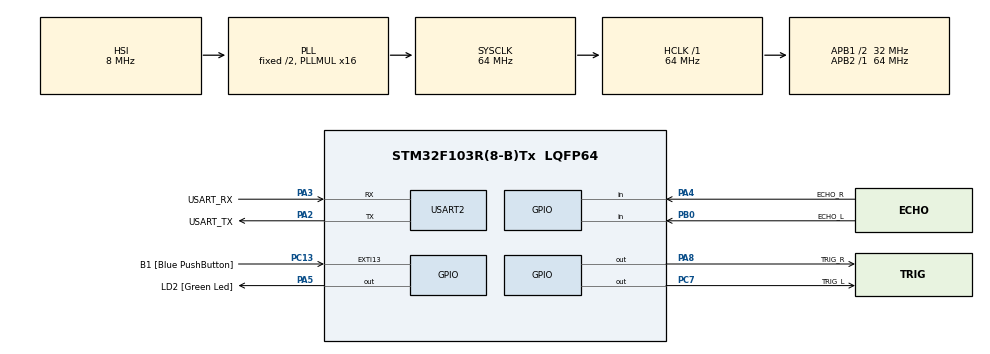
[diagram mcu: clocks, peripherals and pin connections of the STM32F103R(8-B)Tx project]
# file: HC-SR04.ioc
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Mcu.Family=STM32F1
Mcu.Name=STM32F103R(8-B)Tx
Mcu.Package=LQFP64
NVIC.EXTI15_10_IRQn=true\:0\:0\:false\:false\:true\:true\:true\:true
NVIC.PriorityGroup=NVIC_PRIORITYGROUP_4
PA13.GPIO_Label=TMS
PA13.Mode=Serial_Wire
PA13.Signal=SYS_JTMS-SWDIO
PA14.GPIO_Label=TCK
PA14.Mode=Serial_Wire
PA14.Signal=SYS_JTCK-SWCLK
PA2.GPIO_Label=USART_TX
PA2.GPIO_Mode=GPIO_MODE_AF_PP
PA2.GPIO_PuPd=GPIO_NOPULL
PA2.GPIO_Speed=GPIO_SPEED_FREQ_LOW
PA2.Mode=Asynchronous
PA2.Signal=USART2_TX
PA3.GPIO_Label=USART_RX
PA3.GPIO_Mode=GPIO_MODE_AF_PP
PA3.GPIO_PuPd=GPIO_NOPULL
PA3.GPIO_Speed=GPIO_SPEED_FREQ_LOW
PA3.Mode=Asynchronous
PA3.Signal=USART2_RX
PA4.GPIO_Label=ECHO_R
PA4.Signal=GPIO_Input
PA5.GPIO_Label=LD2 [Green Led]
PA5.GPIO_ModeDefaultOutputPP=GPIO_MODE_OUTPUT_PP
PA5.GPIO_PuPd=GPIO_NOPULL
PA5.GPIO_Speed=GPIO_SPEED_FREQ_LOW
PA5.Signal=GPIO_Output
PA8.GPIO_Label=TRIG_R
PA8.Signal=GPIO_Output
PB0.GPIO_Label=ECHO_L
PB0.Signal=GPIO_Input
PB3.GPIO_Label=SWO
PB3.Signal=SYS_JTDO-TRACESWO
PC13-TAMPER-RTC.GPIO_Label=B1 [Blue PushButton]
PC13-TAMPER-RTC.GPIO_PuPd=GPIO_NOPULL
PC13-TAMPER-RTC.Signal=GPXTI13
PC14-OSC32_IN.Signal=RCC_OSC32_IN
PC15-OSC32_OUT.Signal=RCC_OSC32_OUT
PC7.GPIO_Label=TRIG_L
PC7.Signal=GPIO_Output
PD0-OSC_IN.Signal=RCC_OSC_IN
PD1-OSC_OUT.Signal=RCC_OSC_OUT
ProjectManager.HeapSize=0x200
ProjectManager.StackSize=0x400
ProjectManager.TargetToolchain=STM32CubeIDE
RCC.AHBFreq_Value=64000000
RCC.APB1CLKDivider=RCC_HCLK_DIV2
RCC.APB1Freq_Value=32000000
RCC.APB1TimFreq_Value=64000000
RCC.APB2Freq_Value=64000000
RCC.APB2TimFreq_Value=64000000
RCC.HCLKFreq_Value=64000000
RCC.PLLMUL=RCC_PLL_MUL16
RCC.RTCClockSelection=RCC_RTCCLKSOURCE_LSE
RCC.SYSCLKFreq_VALUE=64000000
RCC.SYSCLKSource=RCC_SYSCLKSOURCE_PLLCLK
RCC.USBFreq_Value=64000000
TIM1.Prescaler=64-1
USART2.VirtualMode=VM_ASYNC
VP_TIM1_VS_ClockSourceINT.Mode=Internal
board=NUCLEO-F103RB

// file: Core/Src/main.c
/* USER CODE BEGIN Header */
/**
  ******************************************************************************
  * @file           : main.c
  * @brief          : Main program body
  ******************************************************************************
  * @attention
  *
  * Copyright (c) 2025 STMicroelectronics.
  * All rights reserved.
  *
  * This software is licensed under terms that can be found in the LICENSE file
  * in the root directory of this software component.
  * If no LICENSE file comes with this software, it is provided AS-IS.
  *
  ******************************************************************************
  */
/* USER CODE END Header */
#include "main.h"

/* USER CODE BEGIN Includes */
#include <stdio.h>
#include <stdint.h>
/* USER CODE END Includes */

TIM_HandleTypeDef htim1;

UART_HandleTypeDef huart2;

void SystemClock_Config(void);
static void MX_GPIO_Init(void);
static void MX_USART2_UART_Init(void);
static void MX_TIM1_Init(void);

/* USER CODE BEGIN 0 */
#ifdef __GNUC__

#define PUTCHAR_PROTOTYPE int __io_putchar(int ch)
#else
#define PUTCHAR_PROTOTYPE int fputc(int ch, FILE *f)
#endif /* __GNUC__ */

PUTCHAR_PROTOTYPE
{
	if (ch =='\n')
		HAL_UART_Transmit (&huart2, (uint8_t*) "\r", 1, 0xFFFF);
	HAL_UART_Transmit (&huart2, (uint8_t*) &ch, 1, 0xFFFF);

	return ch;
}

void timer_start(void)
{
   HAL_TIM_Base_Start(&htim1);
}

void delay_us(uint16_t us)
{
   __HAL_TIM_SET_COUNTER(&htim1, 0); // initislize counter to start from 0
   while((__HAL_TIM_GET_COUNTER(&htim1))<us); // wait count until us
}

void trig_l(void)
{
   HAL_GPIO_WritePin(TRIG_L_GPIO_Port, TRIG_L_Pin, 1);
   delay_us(10);
   HAL_GPIO_WritePin(TRIG_L_GPIO_Port, TRIG_L_Pin, 0);
}
void trig_r(void)
{
	HAL_GPIO_WritePin(TRIG_R_GPIO_Port, TRIG_R_Pin, 1);
	delay_us(10);
	HAL_GPIO_WritePin(TRIG_R_GPIO_Port, TRIG_R_Pin, 0);
}

long unsigned int echo_l(void)
{
    long unsigned int echo = 0;

    while(HAL_GPIO_ReadPin(ECHO_L_GPIO_Port, ECHO_L_Pin) == 0){}
         __HAL_TIM_SET_COUNTER(&htim1, 0);
         while(HAL_GPIO_ReadPin(ECHO_L_GPIO_Port, ECHO_L_Pin) == 1);
         echo = __HAL_TIM_GET_COUNTER(&htim1);
    if( echo >= 240 && echo <= 23000 ) return echo;
    else return 0;
}
long unsigned int echo_r(void)
{
	long unsigned int echo = 0;

	while(HAL_GPIO_ReadPin(ECHO_R_GPIO_Port, ECHO_R_Pin) == 0){}
	     __HAL_TIM_SET_COUNTER(&htim1, 0);
	     while(HAL_GPIO_ReadPin(ECHO_R_GPIO_Port, ECHO_R_Pin) == 1);
	     echo = __HAL_TIM_GET_COUNTER(&htim1);
	if( echo >= 240 && echo <= 23000 ) return echo;
	else return 0;
}

/* USER CODE END 0 */

int main(void)
{

  /* USER CODE BEGIN 1 */
//	printf("HC-SR04 TEST\n");
  /* USER CODE END 1 */

  /* MCU Configuration--------------------------------------------------------*/

  /* Reset of all peripherals, Initializes the Flash interface and the Systick. */
  HAL_Init();

  /* Configure the system clock */
  SystemClock_Config();

  /* Initialize all configured peripherals */
  MX_GPIO_Init();
  MX_USART2_UART_Init();
  MX_TIM1_Init();
  /* USER CODE BEGIN 2 */
//  uint8_t ch;
  uint16_t echo_l_time;
  uint16_t dist_l;

  uint16_t echo_r_time;
  uint16_t dist_r;

  timer_start();
  printf("Ranging with HC-SR04\n");

  /* USER CODE END 2 */

  /* Infinite loop */
  /* USER CODE BEGIN WHILE */
  while (1)
  {
// HC-SR04 Serial TEST
//	  HAL_UART_Receive(&huart2, &ch, 1, HAL_MAX_DELAY);
//	  printf("%c\n",ch);
//	  HAL_Delay(100);
	    trig_l();
	    echo_l_time = echo_l();
	    HAL_Delay(1000);
	    if( echo_l_time != 0)
	    {
	        dist_l = (int)(17 * echo_l_time / 100);
	        printf("Distance_l = %d(mm)\n", dist_l);
	        HAL_Delay(1);
	    }
	    else
	    {
	    	printf("Out of Range!@L\n");
	    	HAL_Delay(1);
	    }

	    trig_r();
	    echo_r_time = echo_r();
	    if( echo_r_time != 0)
	    {
	        dist_r = (int)(17 * echo_r_time / 100);
	        printf("Distance_r = %d(mm)\n", dist_r);
	        HAL_Delay(1);
	    }
	    else
	    {
	    	printf("Out of Range!@R\n");
	    	HAL_Delay(1);
	    }

    /* USER CODE END WHILE */
//dd
  }
}

void SystemClock_Config(void)
{
  RCC_OscInitTypeDef RCC_OscInitStruct = {0};
  RCC_ClkInitTypeDef RCC_ClkInitStruct = {0};

  /** Initializes the RCC Oscillators according to the specified parameters
  * in the RCC_OscInitTypeDef structure.
  */
  RCC_OscInitStruct.OscillatorType = RCC_OSCILLATORTYPE_HSI;
  RCC_OscInitStruct.HSIState = RCC_HSI_ON;
  RCC_OscInitStruct.HSICalibrationValue = RCC_HSICALIBRATION_DEFAULT;
  RCC_OscInitStruct.PLL.PLLState = RCC_PLL_ON;
  RCC_OscInitStruct.PLL.PLLSource = RCC_PLLSOURCE_HSI_DIV2;
  RCC_OscInitStruct.PLL.PLLMUL = RCC_PLL_MUL16;
  if (HAL_RCC_OscConfig(&RCC_OscInitStruct) != HAL_OK)
  {
    Error_Handler();
  }

  /** Initializes the CPU, AHB and APB buses clocks
  */
  RCC_ClkInitStruct.ClockType = RCC_CLOCKTYPE_HCLK|RCC_CLOCKTYPE_SYSCLK
                              |RCC_CLOCKTYPE_PCLK1|RCC_CLOCKTYPE_PCLK2;
  RCC_ClkInitStruct.SYSCLKSource = RCC_SYSCLKSOURCE_PLLCLK;
  RCC_ClkInitStruct.AHBCLKDivider = RCC_SYSCLK_DIV1;
  RCC_ClkInitStruct.APB1CLKDivider = RCC_HCLK_DIV2;
  RCC_ClkInitStruct.APB2CLKDivider = RCC_HCLK_DIV1;

  if (HAL_RCC_ClockConfig(&RCC_ClkInitStruct, FLASH_LATENCY_2) != HAL_OK)
  {
    Error_Handler();
  }
}

static void MX_TIM1_Init(void)
{

  TIM_ClockConfigTypeDef sClockSourceConfig = {0};
  TIM_MasterConfigTypeDef sMasterConfig = {0};

  htim1.Instance = TIM1;
  htim1.Init.Prescaler = 64-1;
  htim1.Init.CounterMode = TIM_COUNTERMODE_UP;
  htim1.Init.Period = 65535;
  htim1.Init.ClockDivision = TIM_CLOCKDIVISION_DIV1;
  htim1.Init.RepetitionCounter = 0;
  htim1.Init.AutoReloadPreload = TIM_AUTORELOAD_PRELOAD_DISABLE;
  if (HAL_TIM_Base_Init(&htim1) != HAL_OK)
  {
    Error_Handler();
  }
  sClockSourceConfig.ClockSource = TIM_CLOCKSOURCE_INTERNAL;
  if (HAL_TIM_ConfigClockSource(&htim1, &sClockSourceConfig) != HAL_OK)
  {
    Error_Handler();
  }
  sMasterConfig.MasterOutputTrigger = TIM_TRGO_RESET;
  sMasterConfig.MasterSlaveMode = TIM_MASTERSLAVEMODE_DISABLE;
  if (HAL_TIMEx_MasterConfigSynchronization(&htim1, &sMasterConfig) != HAL_OK)
  {
    Error_Handler();
  }

}

static void MX_USART2_UART_Init(void)
{

  huart2.Instance = USART2;
  huart2.Init.BaudRate = 115200;
  huart2.Init.WordLength = UART_WORDLENGTH_8B;
  huart2.Init.StopBits = UART_STOPBITS_1;
  huart2.Init.Parity = UART_PARITY_NONE;
  huart2.Init.Mode = UART_MODE_TX_RX;
  huart2.Init.HwFlowCtl = UART_HWCONTROL_NONE;
  huart2.Init.OverSampling = UART_OVERSAMPLING_16;
  if (HAL_UART_Init(&huart2) != HAL_OK)
  {
    Error_Handler();
  }

}

static void MX_GPIO_Init(void)
{
  GPIO_InitTypeDef GPIO_InitStruct = {0};

  /* GPIO Ports Clock Enable */
  __HAL_RCC_GPIOC_CLK_ENABLE();
  __HAL_RCC_GPIOD_CLK_ENABLE();
  __HAL_RCC_GPIOA_CLK_ENABLE();
  __HAL_RCC_GPIOB_CLK_ENABLE();

  /*Configure GPIO pin Output Level */
  HAL_GPIO_WritePin(GPIOA, LD2_Pin|TRIG_R_Pin, GPIO_PIN_RESET);

  /*Configure GPIO pin Output Level */
  HAL_GPIO_WritePin(TRIG_L_GPIO_Port, TRIG_L_Pin, GPIO_PIN_RESET);

  /*Configure GPIO pin : B1_Pin */
  GPIO_InitStruct.Pin = B1_Pin;
  GPIO_InitStruct.Mode = GPIO_MODE_IT_RISING;
  GPIO_InitStruct.Pull = GPIO_NOPULL;
  HAL_GPIO_Init(B1_GPIO_Port, &GPIO_InitStruct);

  /*Configure GPIO pin : ECHO_R_Pin */
  GPIO_InitStruct.Pin = ECHO_R_Pin;
  GPIO_InitStruct.Mode = GPIO_MODE_INPUT;
  GPIO_InitStruct.Pull = GPIO_NOPULL;
  HAL_GPIO_Init(ECHO_R_GPIO_Port, &GPIO_InitStruct);

  /*Configure GPIO pins : LD2_Pin TRIG_R_Pin */
  GPIO_InitStruct.Pin = LD2_Pin|TRIG_R_Pin;
  GPIO_InitStruct.Mode = GPIO_MODE_OUTPUT_PP;
  GPIO_InitStruct.Pull = GPIO_NOPULL;
  GPIO_InitStruct.Speed = GPIO_SPEED_FREQ_LOW;
  HAL_GPIO_Init(GPIOA, &GPIO_InitStruct);

  /*Configure GPIO pin : ECHO_L_Pin */
  GPIO_InitStruct.Pin = ECHO_L_Pin;
  GPIO_InitStruct.Mode = GPIO_MODE_INPUT;
  GPIO_InitStruct.Pull = GPIO_NOPULL;
  HAL_GPIO_Init(ECHO_L_GPIO_Port, &GPIO_InitStruct);

  /*Configure GPIO pin : TRIG_L_Pin */
  GPIO_InitStruct.Pin = TRIG_L_Pin;
  GPIO_InitStruct.Mode = GPIO_MODE_OUTPUT_PP;
  GPIO_InitStruct.Pull = GPIO_NOPULL;
  GPIO_InitStruct.Speed = GPIO_SPEED_FREQ_LOW;
  HAL_GPIO_Init(TRIG_L_GPIO_Port, &GPIO_InitStruct);

  /* EXTI interrupt init*/
  HAL_NVIC_SetPriority(EXTI15_10_IRQn, 0, 0);
  HAL_NVIC_EnableIRQ(EXTI15_10_IRQn);

}

void Error_Handler(void)
{
  __disable_irq();
  while (1)
  {
  }
}
